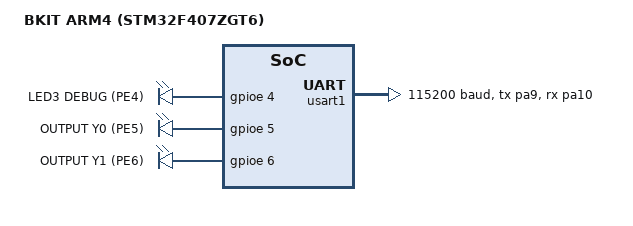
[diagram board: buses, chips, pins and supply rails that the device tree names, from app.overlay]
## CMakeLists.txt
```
# SPDX-License-Identifier: Apache-2.0
cmake_minimum_required(VERSION 3.20.0)

# Locate Zephyr (registered with the "west zephyr-export" command)
find_package(Zephyr REQUIRED HINTS $ENV{ZEPHYR_BASE})

project(bkit_blinky)

# Add the application source files
target_sources(app PRIVATE src/ex5.c)
```

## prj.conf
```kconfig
# ---- Kconfig options for the BKIT Blinky application ----
# Enable the GPIO driver to control pin PE4 (LED3)
CONFIG_GPIO=y

# Enable the UART console (messages are printed on USART1 / RS232)
CONFIG_SERIAL=y
CONFIG_CONSOLE=y
CONFIG_UART_CONSOLE=y
CONFIG_PRINTK=y
CONFIG_DEBUG=y
```

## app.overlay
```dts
/ {
    model = "BKIT ARM4 (STM32F407ZGT6)";

    /* USART1 console: PA9 TX, PA10 RX */
    chosen {
        zephyr,console = &usart1;
        zephyr,shell-uart = &usart1;
    };

    /* GPIO LEDs and outputs */
    leds {
        compatible = "gpio-leds";

        /* LED3 - Debug LED */
        debug_led: led_debug {
            gpios = <&gpioe 4 GPIO_ACTIVE_HIGH>;
            label = "LED3 DEBUG (PE4)";
        };

        /* Y0 - Output status LED */
        output_y0: led_y0 {
            gpios = <&gpioe 5 GPIO_ACTIVE_HIGH>;
            label = "OUTPUT Y0 (PE5)";
        };

        /* Y1 - Output status LED */
        output_y1: led_y1 {
            gpios = <&gpioe 6 GPIO_ACTIVE_HIGH>;
            label = "OUTPUT Y1 (PE6)";
        };
    };

    /* GPIO aliases used by application */
    aliases {
        led0 = &debug_led;
        y0 = &output_y0;
        y1 = &output_y1;

        /delete-property/ led3;
    };
};

/* USART1 configuration */
&usart1 {
    pinctrl-0 = <&usart1_tx_pa9 &usart1_rx_pa10>;
    pinctrl-names = "default";
    current-speed = <115200>;
    status = "okay";
};

/* Disable unused Discovery peripherals */
&usart2 {
    status = "disabled";
};

&can1 {
    status = "disabled";
};

&can2 {
    status = "disabled";
};

&i2c1 {
    status = "disabled";
};

&i2s3 {
    status = "disabled";
};

&adc1 {
    status = "disabled";
};

&timers2 {
    status = "disabled";
};

&timers4 {
    status = "disabled";
};

&usbotg_fs {
    status = "disabled";
};
```

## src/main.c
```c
/*
* BKIT ARM4 - Lab 1: Blinky with Zephyr RTOS
* Blink LED3 (DEBUG LED, pin PE4): ON for 1 second, OFF for 1 second.
*/
#include <stdio.h>
#include <zephyr/kernel.h>
#include <zephyr/drivers/gpio.h>
/* Time between two LED toggles (ms) */
#define SLEEP_TIME_MS 3000
/* Get the LED node from the "led0" alias in the devicetree (app.overlay) */
#define LED0_NODE DT_ALIAS(led0)
/* gpio_dt_spec bundles everything: port (GPIOE), pin (4), flags (ACTIVE_HIGH) */
static const struct gpio_dt_spec led = GPIO_DT_SPEC_GET(LED0_NODE, gpios);
int main(void)
{
int ret;
bool led_state = true;
/* Check that the GPIO port driver is ready */
if (!gpio_is_ready_dt(&led)) {
printf("Error: LED GPIO device is not ready\n");
return 0;
}
/* Configure the pin as an output, initial state: LED on */
ret = gpio_pin_configure_dt(&led, GPIO_OUTPUT_ACTIVE);
if (ret < 0) {
printf("Error: failed to configure LED pin (%d)\n", ret);
return 0;
}
printf("BKIT ARM4 - Zephyr Blinky started!\n");
while (1) {
printf("LED3: %s\n", led_state ? "ON" : "OFF");
k_msleep(SLEEP_TIME_MS); /* Yield the CPU for 1000 ms */
ret = gpio_pin_toggle_dt(&led); /* Toggle the LED */
if (ret < 0) {
return 0;
}
led_state = !led_state;
}
return 0;
}
```

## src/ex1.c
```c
/*
 * Exercise 1: Asymmetric LED Blink
 * Board: BKIT ARM4 - STM32F407
 * LED3 (PE4): ON 1 second, OFF 2 seconds
 */

#include <zephyr/kernel.h>
#include <zephyr/drivers/gpio.h>
#include <zephyr/sys/printk.h>

/* Get LED3 from app.overlay */
#define LED0_NODE DT_ALIAS(led0)

static const struct gpio_dt_spec led =
    GPIO_DT_SPEC_GET(LED0_NODE, gpios);

/* Thread configuration */
#define STACK_SIZE 1024
#define THREAD_PRIORITY 5

/* LED blinking thread */
void thread_led_blinky(void *arg1, void *arg2, void *arg3)
{
    ARG_UNUSED(arg1);
    ARG_UNUSED(arg2);
    ARG_UNUSED(arg3);

    /* Check GPIO device */
    if (!gpio_is_ready_dt(&led)) {
        printk("LED GPIO is not ready!\n");
        return;
    }

    /* Configure LED3 as output, initially OFF */
    if (gpio_pin_configure_dt(&led, GPIO_OUTPUT_INACTIVE) < 0) {
        printk("Failed to configure LED3!\n");
        return;
    }

    printk("Exercise 1: Asymmetric LED Blink\n");

    while (1) {
        /* Turn LED3 ON */
        gpio_pin_set_dt(&led, 1);
        k_msleep(1000);

        /* Turn LED3 OFF */
        gpio_pin_set_dt(&led, 0);
        k_msleep(2000);
    }
}

/* Create and start the LED thread automatically */
K_THREAD_DEFINE(
    led_thread_id,
    STACK_SIZE,
    thread_led_blinky,
    NULL, NULL, NULL,
    THREAD_PRIORITY,
    0,
    0
);

int main(void)
{
    /* main() does not control the LED */
    return 0;
}
```

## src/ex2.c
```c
/*
 * Exercise 2: Two Threads with Shared Variable
 * Board: BKIT ARM4 - STM32F407
 *
 * LED3: ON 2 seconds, OFF 2 seconds
 * Y0: Follows LED3 through shared atomic variable
 */

#include <zephyr/kernel.h>
#include <zephyr/drivers/gpio.h>
#include <zephyr/sys/atomic.h>
#include <zephyr/sys/printk.h>

/* Devicetree aliases */
#define LED3_NODE DT_ALIAS(led0)
#define Y0_NODE   DT_ALIAS(y0)

/* GPIO devices */
static const struct gpio_dt_spec led3 =
    GPIO_DT_SPEC_GET(LED3_NODE, gpios);

static const struct gpio_dt_spec y0 =
    GPIO_DT_SPEC_GET(Y0_NODE, gpios);

/* Thread configuration */
#define STACK_SIZE 1024
#define THREAD_PRIORITY 5

/* Shared variable: 0 = OFF, 1 = ON */
static atomic_t led_state = ATOMIC_INIT(0);

/* Thread 1: Controls LED3 */
void thread_led_blinky(void *arg1, void *arg2, void *arg3)
{
    ARG_UNUSED(arg1);
    ARG_UNUSED(arg2);
    ARG_UNUSED(arg3);

    if (!gpio_is_ready_dt(&led3)) {
        printk("LED3 GPIO not ready!\n");
        return;
    }

    if (gpio_pin_configure_dt(&led3, GPIO_OUTPUT_INACTIVE) < 0) {
        printk("LED3 configuration failed!\n");
        return;
    }

    while (1) {
        /* LED3 ON */
        if (gpio_pin_set_dt(&led3, 1) < 0) {
            printk("LED3 ON failed!\n");
            return;
        }

        atomic_set(&led_state, 1);
        printk("LED3 ON\n");
        k_msleep(2000);

        /* LED3 OFF */
        if (gpio_pin_set_dt(&led3, 0) < 0) {
            printk("LED3 OFF failed!\n");
            return;
        }

        atomic_set(&led_state, 0);
        printk("LED3 OFF\n");
        k_msleep(2000);
    }
}

/* Thread 2: Y0 follows LED3 */
void thread_y0_follow(void *arg1, void *arg2, void *arg3)
{
    ARG_UNUSED(arg1);
    ARG_UNUSED(arg2);
    ARG_UNUSED(arg3);

    if (!gpio_is_ready_dt(&y0)) {
        printk("Y0 GPIO not ready!\n");
        return;
    }

    if (gpio_pin_configure_dt(&y0, GPIO_OUTPUT_INACTIVE) < 0) {
        printk("Y0 configuration failed!\n");
        return;
    }

    int previous_state = -1;

    while (1) {
        int current_state = atomic_get(&led_state);

        /* Update Y0 only when LED3 state changes */
        if (current_state != previous_state) {
            if (gpio_pin_set_dt(&y0, current_state) < 0) {
                printk("Y0 update failed!\n");
                return;
            }

            previous_state = current_state;
            printk("Y0: %s\n", current_state ? "ON" : "OFF");
        }

        /* Poll shared variable every 10 ms */
        k_msleep(10);
    }
}

/* Create two threads */
K_THREAD_DEFINE(
    led_thread_id,
    STACK_SIZE,
    thread_led_blinky,
    NULL, NULL, NULL,
    THREAD_PRIORITY,
    0,
    0
);

K_THREAD_DEFINE(
    y0_thread_id,
    STACK_SIZE,
    thread_y0_follow,
    NULL, NULL, NULL,
    THREAD_PRIORITY,
    0,
    0
);

int main(void)
{
    /* LED control is handled by the two threads */
    return 0;
}
```

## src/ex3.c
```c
/*
 * Exercise 3: Independent Timing Cycles
 * Board: BKIT ARM4 - STM32F407
 *
 * Thread 1:
 * LED3 ON 1.5s, OFF 0.5s
 *
 * Thread 2:
 * Y0 ON, Y1 OFF: 1s
 * Y0 OFF, Y1 ON: 2s
 * Y0 ON, Y1 ON:  2s
 *
 * Both threads run independently.
 */

#include <zephyr/kernel.h>
#include <zephyr/drivers/gpio.h>
#include <zephyr/sys/printk.h>

/* Devicetree aliases */
#define LED3_NODE DT_ALIAS(led0)
#define Y0_NODE   DT_ALIAS(y0)
#define Y1_NODE   DT_ALIAS(y1)

/* GPIO specifications */
static const struct gpio_dt_spec led3 =
    GPIO_DT_SPEC_GET(LED3_NODE, gpios);

static const struct gpio_dt_spec y0 =
    GPIO_DT_SPEC_GET(Y0_NODE, gpios);

static const struct gpio_dt_spec y1 =
    GPIO_DT_SPEC_GET(Y1_NODE, gpios);

/* Thread configuration */
#define STACK_SIZE 1024
#define THREAD_PRIORITY 5

/* Thread 1: LED3 blinking */
void thread_led_blinky(void *arg1, void *arg2, void *arg3)
{
    ARG_UNUSED(arg1);
    ARG_UNUSED(arg2);
    ARG_UNUSED(arg3);

    if (!gpio_is_ready_dt(&led3)) {
        printk("LED3 GPIO not ready!\n");
        return;
    }

    if (gpio_pin_configure_dt(&led3, GPIO_OUTPUT_INACTIVE) < 0) {
        printk("LED3 configuration failed!\n");
        return;
    }

    while (1) {
        /* LED3 ON for 1.5 seconds */
        gpio_pin_set_dt(&led3, 1);
        printk("LED3: ON (1.5s)\n");
        k_msleep(1500);

        /* LED3 OFF for 0.5 seconds */
        gpio_pin_set_dt(&led3, 0);
        printk("LED3: OFF (0.5s)\n");
        k_msleep(500);
    }
}

/* Thread 2: Y0 and Y1 output sequence */
void thread_output_sequence(void *arg1, void *arg2, void *arg3)
{
    ARG_UNUSED(arg1);
    ARG_UNUSED(arg2);
    ARG_UNUSED(arg3);

    if (!gpio_is_ready_dt(&y0) ||
        !gpio_is_ready_dt(&y1)) {
        printk("Y0/Y1 GPIO not ready!\n");
        return;
    }

    if (gpio_pin_configure_dt(&y0, GPIO_OUTPUT_INACTIVE) < 0 ||
        gpio_pin_configure_dt(&y1, GPIO_OUTPUT_INACTIVE) < 0) {
        printk("Y0/Y1 configuration failed!\n");
        return;
    }

    while (1) {
        /* State 1: Only Y0 ON for 1 second */
        gpio_pin_set_dt(&y0, 1);
        gpio_pin_set_dt(&y1, 0);
        printk("Y0: ON | Y1: OFF (1s)\n");
        k_msleep(1000);

        /* State 2: Only Y1 ON for 2 seconds */
        gpio_pin_set_dt(&y0, 0);
        gpio_pin_set_dt(&y1, 1);
        printk("Y0: OFF | Y1: ON (2s)\n");
        k_msleep(2000);

        /* State 3: Both Y0 and Y1 ON for 2 seconds */
        gpio_pin_set_dt(&y0, 1);
        gpio_pin_set_dt(&y1, 1);
        printk("Y0: ON | Y1: ON (2s)\n");
        k_msleep(2000);
    }
}

/* Create LED3 thread */
K_THREAD_DEFINE(
    led_thread_id,
    STACK_SIZE,
    thread_led_blinky,
    NULL, NULL, NULL,
    THREAD_PRIORITY,
    0,
    0
);

/* Create Y0/Y1 thread */
K_THREAD_DEFINE(
    output_thread_id,
    STACK_SIZE,
    thread_output_sequence,
    NULL, NULL, NULL,
    THREAD_PRIORITY,
    0,
    0
);

int main(void)
{
    /* Both threads run independently */
    return 0;
}
```

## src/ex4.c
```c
/*
 * Exercise 4: Parameterized LED Blinking
 * Board: BKIT ARM4 - STM32F407
 *
 * LED3: ON 2000 ms, OFF 2000 ms
 * Y0:   ON  500 ms, OFF  500 ms
 * Y1:   ON 3000 ms, OFF 1000 ms
 */

#include <zephyr/kernel.h>
#include <zephyr/drivers/gpio.h>
#include <zephyr/sys/printk.h>

/* Devicetree aliases */
#define LED3_NODE DT_ALIAS(led0)
#define Y0_NODE   DT_ALIAS(y0)
#define Y1_NODE   DT_ALIAS(y1)

/* Configuration structure */
struct blink_cfg {
    struct gpio_dt_spec led;
    int on_ms;
    int off_ms;
};

/* Configuration for each LED */
static struct blink_cfg led3_cfg = {
    .led = GPIO_DT_SPEC_GET(LED3_NODE, gpios),
    .on_ms = 2000,
    .off_ms = 2000
};

static struct blink_cfg y0_cfg = {
    .led = GPIO_DT_SPEC_GET(Y0_NODE, gpios),
    .on_ms = 500,
    .off_ms = 500
};

static struct blink_cfg y1_cfg = {
    .led = GPIO_DT_SPEC_GET(Y1_NODE, gpios),
    .on_ms = 3000,
    .off_ms = 1000
};

/*
 * One thread function is enough because all three LEDs
 * perform the same blinking logic, with only their GPIO
 * pins and ON/OFF durations differing.
 */
void thread_blink(void *p1, void *p2, void *p3)
{
    ARG_UNUSED(p2);
    ARG_UNUSED(p3);

    /* Receive configuration through p1 */
    struct blink_cfg *cfg = (struct blink_cfg *)p1;

    /* Check GPIO device */
    if (!gpio_is_ready_dt(&cfg->led)) {
        printk("GPIO device not ready!\n");
        return;
    }

    /* Configure GPIO as output, initially OFF */
    if (gpio_pin_configure_dt(
            &cfg->led, GPIO_OUTPUT_INACTIVE) < 0) {
        printk("GPIO configuration failed!\n");
        return;
    }

    while (1) {
        /* Turn LED ON */
        if (gpio_pin_set_dt(&cfg->led, 1) < 0) {
            printk("Failed to turn LED ON!\n");
            return;
        }

        k_msleep(cfg->on_ms);

        /* Turn LED OFF */
        if (gpio_pin_set_dt(&cfg->led, 0) < 0) {
            printk("Failed to turn LED OFF!\n");
            return;
        }

        k_msleep(cfg->off_ms);
    }
}

/* Thread 1: LED3 */
K_THREAD_DEFINE(
    led3_thread_id,
    1024,
    thread_blink,
    &led3_cfg, NULL, NULL,
    5, 0, 0
);

/* Thread 2: Y0 */
K_THREAD_DEFINE(
    y0_thread_id,
    1024,
    thread_blink,
    &y0_cfg, NULL, NULL,
    5, 0, 0
);

/* Thread 3: Y1 */
K_THREAD_DEFINE(
    y1_thread_id,
    1024,
    thread_blink,
    &y1_cfg, NULL, NULL,
    5, 0, 0
);

int main(void)
{
    /* LED control is handled by three threads */
    return 0;
}
```

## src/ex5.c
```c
/*
 * Exercise 5: Traffic Light Controller
 * Board: BKIT ARM4 - STM32F407
 *
 * Thread 1: LED3 blinks ON/OFF every 1 second.
 * Thread 2: Traffic light cycles:
 *   RED   - 7 seconds
 *   GREEN - 5 seconds
 *   AMBER - 2 seconds
 *
 * Both threads run independently.
 */

#include <zephyr/kernel.h>
#include <zephyr/drivers/gpio.h>
#include <zephyr/sys/printk.h>

/* Devicetree aliases */
#define LED3_NODE DT_ALIAS(led0)
#define Y0_NODE   DT_ALIAS(y0)
#define Y1_NODE   DT_ALIAS(y1)

/* GPIO specifications */
static const struct gpio_dt_spec led3 =
    GPIO_DT_SPEC_GET(LED3_NODE, gpios);

static const struct gpio_dt_spec y0 =
    GPIO_DT_SPEC_GET(Y0_NODE, gpios);

static const struct gpio_dt_spec y1 =
    GPIO_DT_SPEC_GET(Y1_NODE, gpios);

/* Thread configuration */
#define STACK_SIZE 1024
#define THREAD_PRIORITY 5

/* Traffic light phase structure */
struct phase {
    const char *name;
    int y0;
    int y1;
    int duration_ms;
};

/* Constant array of traffic light phases */
static const struct phase phases[] = {
    { "RED",   1, 0, 7000 },
    { "GREEN", 0, 1, 5000 },
    { "AMBER", 1, 1, 2000 }
};

/* Thread 1: System alive LED */
void thread_led_blinky(void *p1, void *p2, void *p3)
{
    ARG_UNUSED(p1);
    ARG_UNUSED(p2);
    ARG_UNUSED(p3);


    gpio_pin_configure_dt(&led3, GPIO_OUTPUT_INACTIVE);

    while (1) {
        gpio_pin_set_dt(&led3, 1);
        k_msleep(1000);

        gpio_pin_set_dt(&led3, 0);
        k_msleep(1000);
    }
}

/* Thread 2: Traffic light controller */
void thread_traffic_light(void *p1, void *p2, void *p3)
{
    ARG_UNUSED(p1);
    ARG_UNUSED(p2);
    ARG_UNUSED(p3);

    gpio_pin_configure_dt(&y0, GPIO_OUTPUT_INACTIVE);
    gpio_pin_configure_dt(&y1, GPIO_OUTPUT_INACTIVE);

    while (1) {
        for (int i = 0; i < ARRAY_SIZE(phases); i++) {
            /* Apply the current traffic light phase */
            if (gpio_pin_set_dt(&y0, phases[i].y0) < 0 ||
                gpio_pin_set_dt(&y1, phases[i].y1) < 0) {
                printk("[LIGHT] GPIO update failed!\n");
                return;
            }

            /* Print phase name and duration */
            printk("[LIGHT] %s - %d s\n",
                   phases[i].name,
                   phases[i].duration_ms / 1000);

            /* Keep the current phase */
            k_msleep(phases[i].duration_ms);
        }
    }
}

/* Create LED3 blinking thread */
K_THREAD_DEFINE(
    led_thread_id,
    STACK_SIZE,
    thread_led_blinky,
    NULL, NULL, NULL,
    THREAD_PRIORITY,
    0,
    0
);

/* Create traffic light thread */
K_THREAD_DEFINE(
    traffic_thread_id,
    STACK_SIZE,
    thread_traffic_light,
    NULL, NULL, NULL,
    THREAD_PRIORITY,
    0,
    0
);

int main(void)
{
    return 0;
}
```
